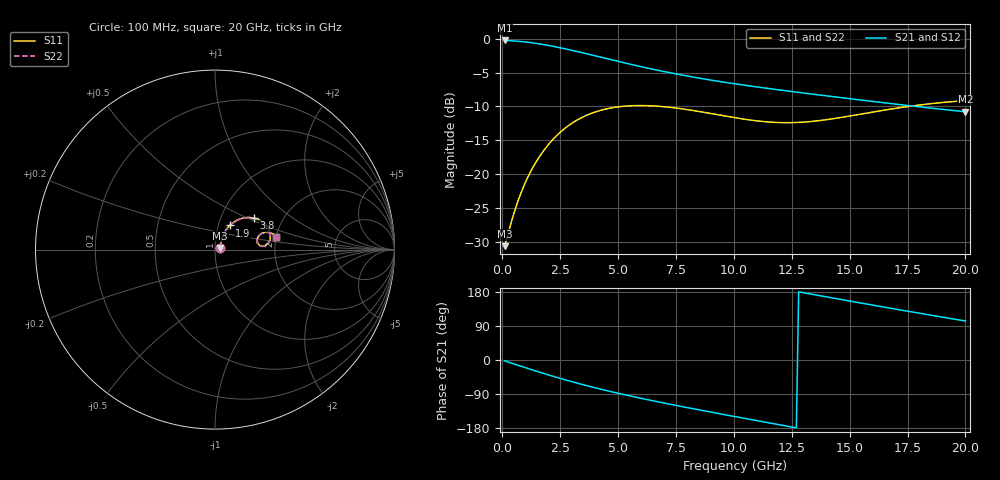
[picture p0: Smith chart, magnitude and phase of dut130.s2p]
! Touchstone file exported from HFSS 2024.1.0
!  File:  C:/UserFiles/LocalFiles/RDL_TSV_Batchsim/temp_RDL_TSV_130_1779426893.aedt
!  Generated:  01:29:51 PM May 22, 2026
!  Design:  RDL_TSV
!  Project:  temp_RDL_TSV_130_1779426893
!  Setup:  Setup1
!  Solution:  Sweep
! Variables:
!  dtsv = 9.34um
!  hbump = 3um
!  htsv = 50.51um
!  ldown = 699.22um
!  lrdl = 524.65um
!  p = 40
!  p1 = 44.67um
!  rhole = 10um
!  subl = 4196.26um
!  t = 450um
!  tdown = 3.32um
!  trdl = 4.71um
!  viad = 10um
!  wdown = 10.21um
!  wrdl = 25.92um
!  xbump = 18um
# GHz S MA R 50.000000
! Terminal data exported
! Port[1] = TM1_1_T1
! Port[2] = TM1_4_T1
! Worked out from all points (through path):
!   200 points, 100 MHz to 20 GHz, reference 50 ohm
!   highest |S21| = -0.25 dB at 100 MHz (marker M1); lowest = -10.8 dB at 20 GHz (marker M2)
!   group delay of S21, straight-line fit = 33.9 ps
!   lowest |S11| = -30.7 dB at 100 MHz (marker M3), VSWR 1.06, Z = 52.9 + j0.913 ohm
!   |S11| at or under -10 dB: start of sweep to 5.163 GHz; 6.847 GHz to 17.55 GHz (10.7 GHz wide, 87.7 % of centre)
!   |S22| runs from -30.7 to -9.2 dB; largest |S21 - S12| = 5.4e-15
!   S11 on the Smith chart (normalised r, x): 100 MHz: 1.06, +0.02; 1.9 GHz: 1.13, +0.31; 3.8 GHz: 1.43, +0.55; 20 GHz: 2.00, +0.33
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0.1  0.02933 17.1  0.9719 -2.1  0.9719 -2.1  0.02933 17.1
! Gamma 0 0 0 0
! Port Impedance 50 0 50 0
0.5  0.05116 49.1  0.9638 -10.3  0.9638 -10.3  0.05117 49.1
0.9  0.07936 58.6  0.951 -18.4  0.951 -18.4  0.07937 58.5
1.4  0.1182 60.7  0.9281 -28.2  0.9281 -28.2  0.1182 60.6
1.9  0.1581 58.5  0.899 -37.7  0.899 -37.7  0.158 58.4
2.3  0.1889 55.2  0.8725 -45.0  0.8725 -45.0  0.1888 55.1
2.7  0.2176 51.2  0.8442 -52.0  0.8442 -52.0  0.2174 51.1
3.5  0.2652 42.4  0.7855 -65.4  0.7855 -65.4  0.2648 42.3
3.8  0.2792 39.1  0.7636 -70.1  0.7636 -70.1  0.2787 38.9
4.5  0.3034 31.7  0.7142 -80.7  0.7142 -80.7  0.3027 31.5
5.3  0.3179 24.0  0.6623 -91.9  0.6623 -91.9  0.317 23.8
6  0.3211 18.3  0.6218 -101.2  0.6218 -101.2  0.3202 18.1
6.8  0.3167 12.9  0.581 -111.4  0.581 -111.4  0.3156 12.6
7.6  0.3062 8.7  0.5458 -121.1  0.5458 -121.1  0.3049 8.4
8.4  0.2921 5.8  0.5154 -130.5  0.5154 -130.5  0.2906 5.6
10.1  0.26 4.4  0.4631 -149.9  0.4631 -149.9  0.2581 4.2
11.7  0.2414 8.4  0.4244 -167.9  0.4244 -167.9  0.2393 8.3
13.4  0.2453 14.9  0.3898 173.2  0.3898 173.2  0.2432 14.9
15.1  0.2702 18.7  0.3592 154.5  0.3592 154.5  0.2683 18.9
16.7  0.3008 18.7  0.3332 137.2  0.3332 137.2  0.299 18.8
18.3  0.3284 16.0  0.3101 120.4  0.3101 120.4  0.3266 16.1
20  0.349 11.8  0.2888 103.0  0.2888 103.0  0.3471 11.9
